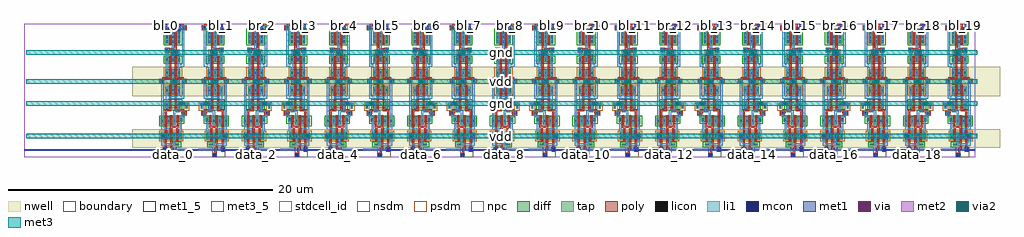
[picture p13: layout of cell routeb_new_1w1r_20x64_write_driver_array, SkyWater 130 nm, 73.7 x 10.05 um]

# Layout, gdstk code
from math import pi, radians
import gdstk
lib = gdstk.Library(unit=1e-6, precision=1e-09)
def R(c, l, rs):  # rectangles x0, y0, x1, y1
    for r in rs: c.add(gdstk.rectangle(r[:2], r[2:], *l))
def A(c, l, x, y, w, h, nx, ny, dx, dy):  # array of equal rectangles
    R(c, l, [(x+i*dx, y+j*dy, x+i*dx+w, y+j*dy+h) for i in range(nx) for j in range(ny)])
nwell = (64, 20)
diff = (65, 20)
tap = (65, 44)
poly = (66, 20)
licon = (66, 44)
li1 = (67, 20)
mcon = (67, 44)
met1_5 = (68, 5)
met1 = (68, 20)
via = (68, 44)
met2 = (69, 20)
via2 = (69, 44)
met3_5 = (70, 5)
met3 = (70, 20)
stdcell_id = (81, 4)
nsdm = (93, 44)
psdm = (94, 20)
npc = (95, 20)
boundary = (235, 4)

sky130_fd_bd_sram__openr = lib.new_cell('sky130_fd_bd_sram__openram_write_driver')
R(sky130_fd_bd_sram__openr, nwell, [(-1.88,0.69,4.4,2.12), (-1.88,4.6,4.4,6.83)])
R(sky130_fd_bd_sram__openr, diff, [(0.305,1.31,1.88,1.86), (0.305,2.46,1.435,2.65), (0.305,2.65,1.955,3.01), (0.645,3.68,1.795,4.23), (0.645,4.78,1.78,5.33), (0.645,6.095,1.775,6.645), (0.645,7.175,1.775,7.535), (0.645,8.565,1.775,9.565)])
R(sky130_fd_bd_sram__openr, tap, [(1.245,0.87,1.705,1.04), (2.155,3.64,2.325,4.1), (1.125,5.62,1.605,5.79), (1.145,7.805,1.605,7.975)])
R(sky130_fd_bd_sram__openr, poly, [(1.115,0.02,1.425,0.32), (1.115,0.32,1.275,0.5), (0.505,0.42,0.775,0.74), (1.015,0.5,1.275,0.65), (1.015,0.65,1.165,2.23), (0.505,0.74,0.725,0.75), (0.575,0.75,0.725,3.45), (1.455,1.18,1.605,2.23), (1.015,2.23,1.665,2.38), (1.015,2.38,1.165,3.14), (1.515,2.38,1.665,3.14), (1.875,3.18,2.245,3.3), (1.825,3.3,2.245,3.45), (0.575,3.45,1.065,3.6), (1.355,3.45,1.995,3.6), (0.915,3.6,1.065,5.46), (1.355,3.6,1.505,5.46), (0.205,5.6,0.54,5.87), (1.885,5.6,2.215,5.72), (1.88,5.72,2.215,5.87), (0.39,5.87,1.065,6.02), (1.355,5.87,2.03,6.02), (0.915,6.02,1.065,7.665), (1.355,6.02,1.505,7.665), (0.605,7.925,0.935,8.055), (0.605,8.055,1.505,8.205), (1.355,8.205,1.505,9.695), (0.915,8.435,1.065,9.905), (1.895,9.645,2.225,9.905), (0.915,9.905,2.225,9.915), (0.915,9.915,2.045,10.055)])
A(sky130_fd_bd_sram__openr, licon, 0.345, 1.5, 0.17, 0.17, 4, 1, 0.44, 0)
A(sky130_fd_bd_sram__openr, licon, 0.345, 2.65, 0.17, 0.17, 3, 1, 0.44, 0)
A(sky130_fd_bd_sram__openr, licon, 0.685, 4.97, 0.17, 0.17, 3, 2, 0.44, 1.315)
A(sky130_fd_bd_sram__openr, licon, 0.685, 7.275, 0.17, 0.17, 3, 2, 0.44, 1.365)
A(sky130_fd_bd_sram__openr, licon, 0.685, 8.98, 0.17, 0.17, 3, 2, 0.44, 0.34)
R(sky130_fd_bd_sram__openr, licon, [(1.175,0.1,1.345,0.27), (0.555,0.5,0.725,0.67), (1.395,0.87,1.565,1.04), (1.725,2.745,1.895,2.915), (1.995,3.23,2.165,3.4), (2.155,3.78,2.325,3.95), (0.685,3.87,0.855,4.04), (1.565,3.87,1.735,4.04), (1.295,5.62,1.465,5.79), (0.285,5.65,0.455,5.82), (1.965,5.65,2.135,5.82), (1.295,7.805,1.465,7.975), (0.685,7.985,0.855,8.155), (1.975,9.695,2.145,9.865)])
R(sky130_fd_bd_sram__openr, li1, [(1.095,0.1,1.425,0.27), (0.47,0.5,0.805,0.67), (1.225,0.84,1.395,0.87), (0.345,0.87,1.645,1.04), (0.345,1.04,0.515,1.88), (1.225,1.04,1.395,1.88), (0.785,1.29,0.955,2.05), (1.665,1.29,1.835,1.95), (1.665,1.95,1.895,2.12), (0.345,2.05,0.955,2.22), (1.725,2.12,1.895,2.89), (0.345,2.22,0.515,5.57), (0.785,2.44,0.955,3.03), (1.225,2.44,1.395,3.4), (1.725,2.89,1.955,2.99), (1.725,2.99,2.105,3.11), (1.725,3.11,2.165,3.16), (1.935,3.16,2.165,3.49), (1.225,3.375,1.735,3.545), (1.565,3.4,1.735,3.95), (0.685,3.65,0.855,4.42), (2.155,3.7,2.325,3.95), (1.565,3.95,2.355,4.12), (1.565,4.12,1.735,4.25), (0.685,4.42,2.075,4.59), (0.685,4.59,0.855,5.35), (1.565,4.59,1.735,5.35), (1.905,4.59,2.075,5.57), (1.125,4.76,1.295,5.62), (0.285,5.57,0.515,5.9), (1.905,5.57,2.135,5.9), (1.125,5.62,1.545,5.79), (1.125,5.79,1.295,6.665), (0.685,6.08,0.855,7.9), (1.565,6.08,1.735,6.825), (1.565,6.825,2.075,6.995), (1.565,6.995,1.735,7.565), (1.905,6.995,2.075,9.615), (1.125,7.165,1.295,7.805), (1.125,7.805,1.545,7.975), (0.585,7.9,0.855,8.235), (1.125,7.975,1.295,9.635), (0.685,8.545,0.855,9.735), (1.565,8.545,1.735,9.735), (1.905,9.615,2.145,9.945)])
R(sky130_fd_bd_sram__openr, mcon, [(1.175,0.1,1.345,0.27), (0.555,0.5,0.725,0.67), (0.345,1.5,0.515,1.67), (1.8,3.95,1.97,4.12), (1.125,5.62,1.295,5.79), (1.125,7.805,1.295,7.975), (0.685,9.565,0.855,9.735), (1.565,9.565,1.735,9.735)])
R(sky130_fd_bd_sram__openr, met1_5, [(1.115,0.02,1.415,0.3), (0.495,0.47,2.5,0.64), (0.285,1.47,0.715,1.7), (1.67,3.945,2.1,4.15), (1.065,5.59,1.495,5.82), (1.065,7.805,1.605,7.975), (0.63,9.795,0.78,10.055), (1.64,9.795,1.79,10.055)])
R(sky130_fd_bd_sram__openr, met1, [(1.115,0.02,1.415,0.3), (1.115,0.02,1.415,0.3), (0.495,0.47,2.5,0.64), (0.495,0.47,2.5,0.64), (0.495,0.64,0.785,0.78), (0.285,1.47,0.715,1.7), (0.285,1.47,0.715,1.7), (1.735,3.92,2.1,3.945), (1.67,3.945,2.1,4.15), (1.67,3.945,2.1,4.15), (1.065,5.59,1.495,5.82), (1.065,5.59,1.495,5.82), (1.065,7.775,1.495,7.805), (1.065,7.805,1.605,7.975), (1.065,7.805,1.605,7.975), (1.065,7.975,1.495,8.005), (0.625,9.505,0.91,9.795), (1.51,9.505,1.795,9.795), (0.63,9.795,0.78,10.055), (0.63,9.795,0.78,10.055), (1.64,9.795,1.79,10.055), (1.64,9.795,1.79,10.055)])
R(sky130_fd_bd_sram__openr, stdcell_id, [(0,0,2.5,10.055)])
R(sky130_fd_bd_sram__openr, nsdm, [(1.12,0.745,1.83,1.165), (0.18,2.335,1.56,2.525), (0.18,2.525,2.08,3.135), (0.52,3.555,1.92,4.355), (1,5.495,1.73,5.915), (0.52,7.05,1.9,7.66), (0.52,8.44,1.9,9.69)])
R(sky130_fd_bd_sram__openr, psdm, [(0.18,1.185,2.005,1.985), (2.03,3.515,2.45,4.225), (0.52,4.655,1.905,5.455), (0.52,5.97,1.9,6.77), (1.02,7.68,1.73,8.1)])
R(sky130_fd_bd_sram__openr, npc, [(0.455,0,1.445,0.77), (1.895,3.13,2.265,3.5), (0.185,5.55,0.555,5.92), (1.865,5.55,2.235,5.92), (0.585,7.885,0.955,8.255), (1.875,9.595,2.245,9.965)])
R(sky130_fd_bd_sram__openr, boundary, [(0,0,2.5,10.055)])
sky130_fd_bd_sram__openr.add(gdstk.Label('DIN', (1.265,0.06), layer=68, texttype=16))
sky130_fd_bd_sram__openr.add(gdstk.Label('VDD', (0.54,1.585), layer=68, texttype=16))
sky130_fd_bd_sram__openr.add(gdstk.Label('BL', (0.7,9.905), layer=68, texttype=16))
sky130_fd_bd_sram__openr.add(gdstk.Label('BR', (1.7,9.865), layer=68, texttype=16))
sky130_fd_bd_sram__openr.add(gdstk.Label('EN', (0.53,0.59), layer=68, texttype=16))
sky130_fd_bd_sram__openr.add(gdstk.Label('GND', (1.965,4.135), layer=68, texttype=16))
sky130_fd_bd_sram__openr.add(gdstk.Label('GND', (1.1,7.885), layer=68, texttype=16))
sky130_fd_bd_sram__openr.add(gdstk.Label('VDD', (1.1,5.7), layer=68, texttype=16))
sky130_fd_bd_sram__openr.add(gdstk.Label('din', (1.265,0.16), layer=68, texttype=5))
sky130_fd_bd_sram__openr.add(gdstk.Label('bl', (0.705,9.925), layer=68, texttype=5))
sky130_fd_bd_sram__openr.add(gdstk.Label('br', (1.715,9.925), layer=68, texttype=5))
sky130_fd_bd_sram__openr.add(gdstk.Label('en', (1.498,0.555), layer=68, texttype=5))
sky130_fd_bd_sram__openr.add(gdstk.Label('vdd', (0.5,1.585), layer=68, texttype=5))
sky130_fd_bd_sram__openr.add(gdstk.Label('vdd', (1.28,5.705), layer=68, texttype=5))
sky130_fd_bd_sram__openr.add(gdstk.Label('gnd', (1.885,4.048), layer=68, texttype=5))
sky130_fd_bd_sram__openr.add(gdstk.Label('gnd', (1.335,7.89), layer=68, texttype=5))

routeb_new_1w1r_20x64_co = lib.new_cell('routeb_new_1w1r_20x64_contact_18')
R(routeb_new_1w1r_20x64_co, met1, [(0,0.03,0.32,0.29)])
R(routeb_new_1w1r_20x64_co, via, [(0.085,0.085,0.235,0.235)])
R(routeb_new_1w1r_20x64_co, met2, [(0.03,0,0.29,0.32)])
R(routeb_new_1w1r_20x64_co, stdcell_id, [(0,0,0.32,0.32)])
R(routeb_new_1w1r_20x64_co, boundary, [(0,0,0.32,0.32)])

c_routeb_new_1w1r_20x64_co = lib.new_cell('routeb_new_1w1r_20x64_contact_21')
R(c_routeb_new_1w1r_20x64_co, met2, [(0.025,0,0.305,0.37)])
R(c_routeb_new_1w1r_20x64_co, via2, [(0.065,0.085,0.265,0.285)])
R(c_routeb_new_1w1r_20x64_co, met3, [(0,0.02,0.33,0.35)])
R(c_routeb_new_1w1r_20x64_co, stdcell_id, [(0,0,0.33,0.37)])
R(c_routeb_new_1w1r_20x64_co, boundary, [(0,0,0.33,0.37)])

routeb_new_1w1r_20x64_wr = lib.new_cell('routeb_new_1w1r_20x64_write_driver_array')
R(routeb_new_1w1r_20x64_wr, met1_5, [(11.15,0.02,11.45,0.3), (14.24,0.02,14.54,0.3), (17.39,0.02,17.69,0.3), (20.48,0.02,20.78,0.3), (23.63,0.02,23.93,0.3), (26.72,0.02,27.02,0.3), (29.87,0.02,30.17,0.3), (32.96,0.02,33.26,0.3), (36.11,0.02,36.41,0.3), (39.2,0.02,39.5,0.3), (42.35,0.02,42.65,0.3), (45.44,0.02,45.74,0.3), (48.59,0.02,48.89,0.3), (51.68,0.02,51.98,0.3), (54.83,0.02,55.13,0.3), (57.92,0.02,58.22,0.3), (61.07,0.02,61.37,0.3), (64.16,0.02,64.46,0.3), (67.31,0.02,67.61,0.3), (70.4,0.02,70.7,0.3), (0,0.47,71.815,0.61), (10.665,9.795,10.815,10.055), (11.675,9.795,11.825,10.055), (13.865,9.795,14.015,10.055), (14.875,9.795,15.025,10.055), (16.905,9.795,17.055,10.055), (17.915,9.795,18.065,10.055), (20.105,9.795,20.255,10.055), (21.115,9.795,21.265,10.055), (23.145,9.795,23.295,10.055), (24.155,9.795,24.305,10.055), (26.345,9.795,26.495,10.055), (27.355,9.795,27.505,10.055), (29.385,9.795,29.535,10.055), (30.395,9.795,30.545,10.055), (32.585,9.795,32.735,10.055), (33.595,9.795,33.745,10.055), (35.625,9.795,35.775,10.055), (36.635,9.795,36.785,10.055), (38.825,9.795,38.975,10.055), (39.835,9.795,39.985,10.055), (41.865,9.795,42.015,10.055), (42.875,9.795,43.025,10.055), (45.065,9.795,45.215,10.055), (46.075,9.795,46.225,10.055), (48.105,9.795,48.255,10.055), (49.115,9.795,49.265,10.055), (51.305,9.795,51.455,10.055), (52.315,9.795,52.465,10.055), (54.345,9.795,54.495,10.055), (55.355,9.795,55.505,10.055), (57.545,9.795,57.695,10.055), (58.555,9.795,58.705,10.055), (60.585,9.795,60.735,10.055), (61.595,9.795,61.745,10.055), (63.785,9.795,63.935,10.055), (64.795,9.795,64.945,10.055), (66.825,9.795,66.975,10.055), (67.835,9.795,67.985,10.055), (70.025,9.795,70.175,10.055), (71.035,9.795,71.185,10.055)])
R(routeb_new_1w1r_20x64_wr, met1, [(11.15,0.02,11.45,0.3), (14.24,0.02,14.54,0.3), (17.39,0.02,17.69,0.3), (20.48,0.02,20.78,0.3), (23.63,0.02,23.93,0.3), (26.72,0.02,27.02,0.3), (29.87,0.02,30.17,0.3), (32.96,0.02,33.26,0.3), (36.11,0.02,36.41,0.3), (39.2,0.02,39.5,0.3), (42.35,0.02,42.65,0.3), (45.44,0.02,45.74,0.3), (48.59,0.02,48.89,0.3), (51.68,0.02,51.98,0.3), (54.83,0.02,55.13,0.3), (57.92,0.02,58.22,0.3), (61.07,0.02,61.37,0.3), (64.16,0.02,64.46,0.3), (67.31,0.02,67.61,0.3), (70.4,0.02,70.7,0.3), (0,0.47,71.815,0.61), (10.375,1.455,10.695,1.715), (14.995,1.455,15.315,1.715), (16.615,1.455,16.935,1.715), (21.235,1.455,21.555,1.715), (22.855,1.455,23.175,1.715), (27.475,1.455,27.795,1.715), (29.095,1.455,29.415,1.715), (33.715,1.455,34.035,1.715), (35.335,1.455,35.655,1.715), (39.955,1.455,40.275,1.715), (41.575,1.455,41.895,1.715), (46.195,1.455,46.515,1.715), (47.815,1.455,48.135,1.715), (52.435,1.455,52.755,1.715), (54.055,1.455,54.375,1.715), (58.675,1.455,58.995,1.715), (60.295,1.455,60.615,1.715), (64.915,1.455,65.235,1.715), (66.535,1.455,66.855,1.715), (71.155,1.455,71.475,1.715), (11.76,3.92,12.08,4.18), (13.61,3.92,13.93,4.18), (18,3.92,18.32,4.18), (19.85,3.92,20.17,4.18), (24.24,3.92,24.56,4.18), (26.09,3.92,26.41,4.18), (30.48,3.92,30.8,4.18), (32.33,3.92,32.65,4.18), (36.72,3.92,37.04,4.18), (38.57,3.92,38.89,4.18), (42.96,3.92,43.28,4.18), (44.81,3.92,45.13,4.18), (49.2,3.92,49.52,4.18), (51.05,3.92,51.37,4.18), (55.44,3.92,55.76,4.18), (57.29,3.92,57.61,4.18), (61.68,3.92,62,4.18), (63.53,3.92,63.85,4.18), (67.92,3.92,68.24,4.18), (69.77,3.92,70.09,4.18), (11.155,5.575,11.475,5.835), (14.215,5.575,14.535,5.835), (17.395,5.575,17.715,5.835), (20.455,5.575,20.775,5.835), (23.635,5.575,23.955,5.835), (26.695,5.575,27.015,5.835), (29.875,5.575,30.195,5.835), (32.935,5.575,33.255,5.835), (36.115,5.575,36.435,5.835), (39.175,5.575,39.495,5.835), (42.355,5.575,42.675,5.835), (45.415,5.575,45.735,5.835), (48.595,5.575,48.915,5.835), (51.655,5.575,51.975,5.835), (54.835,5.575,55.155,5.835), (57.895,5.575,58.215,5.835), (61.075,5.575,61.395,5.835), (64.135,5.575,64.455,5.835), (67.315,5.575,67.635,5.835), (70.375,5.575,70.695,5.835), (11.21,7.76,11.53,8.02), (14.16,7.76,14.48,8.02), (17.45,7.76,17.77,8.02), (20.4,7.76,20.72,8.02), (23.69,7.76,24.01,8.02), (26.64,7.76,26.96,8.02), (29.93,7.76,30.25,8.02), (32.88,7.76,33.2,8.02), (36.17,7.76,36.49,8.02), (39.12,7.76,39.44,8.02), (42.41,7.76,42.73,8.02), (45.36,7.76,45.68,8.02), (48.65,7.76,48.97,8.02), (51.6,7.76,51.92,8.02), (54.89,7.76,55.21,8.02), (57.84,7.76,58.16,8.02), (61.13,7.76,61.45,8.02), (64.08,7.76,64.4,8.02), (67.37,7.76,67.69,8.02), (70.32,7.76,70.64,8.02), (10.665,9.795,10.815,10.055), (11.675,9.795,11.825,10.055), (13.865,9.795,14.015,10.055), (14.875,9.795,15.025,10.055), (16.905,9.795,17.055,10.055), (17.915,9.795,18.065,10.055), (20.105,9.795,20.255,10.055), (21.115,9.795,21.265,10.055), (23.145,9.795,23.295,10.055), (24.155,9.795,24.305,10.055), (26.345,9.795,26.495,10.055), (27.355,9.795,27.505,10.055), (29.385,9.795,29.535,10.055), (30.395,9.795,30.545,10.055), (32.585,9.795,32.735,10.055), (33.595,9.795,33.745,10.055), (35.625,9.795,35.775,10.055), (36.635,9.795,36.785,10.055), (38.825,9.795,38.975,10.055), (39.835,9.795,39.985,10.055), (41.865,9.795,42.015,10.055), (42.875,9.795,43.025,10.055), (45.065,9.795,45.215,10.055), (46.075,9.795,46.225,10.055), (48.105,9.795,48.255,10.055), (49.115,9.795,49.265,10.055), (51.305,9.795,51.455,10.055), (52.315,9.795,52.465,10.055), (54.345,9.795,54.495,10.055), (55.355,9.795,55.505,10.055), (57.545,9.795,57.695,10.055), (58.555,9.795,58.705,10.055), (60.585,9.795,60.735,10.055), (61.595,9.795,61.745,10.055), (63.785,9.795,63.935,10.055), (64.795,9.795,64.945,10.055), (66.825,9.795,66.975,10.055), (67.835,9.795,67.985,10.055), (70.025,9.795,70.175,10.055), (71.035,9.795,71.185,10.055)])
R(routeb_new_1w1r_20x64_wr, met2, [(10.395,1.46,10.675,1.705), (15.015,1.46,15.295,1.705), (16.635,1.46,16.915,1.705), (21.255,1.46,21.535,1.705), (22.875,1.46,23.155,1.705), (27.495,1.46,27.775,1.705), (29.115,1.46,29.395,1.705), (33.735,1.46,34.015,1.705), (35.355,1.46,35.635,1.705), (39.975,1.46,40.255,1.705), (41.595,1.46,41.875,1.705), (46.215,1.46,46.495,1.705), (47.835,1.46,48.115,1.705), (52.455,1.46,52.735,1.705), (54.075,1.46,54.355,1.705), (58.695,1.46,58.975,1.705), (60.315,1.46,60.595,1.705), (64.935,1.46,65.215,1.705), (66.555,1.46,66.835,1.705), (71.175,1.46,71.455,1.705), (11.78,3.925,12.06,4.17), (13.63,3.925,13.91,4.17), (18.02,3.925,18.3,4.17), (19.87,3.925,20.15,4.17), (24.26,3.925,24.54,4.17), (26.11,3.925,26.39,4.17), (30.5,3.925,30.78,4.17), (32.35,3.925,32.63,4.17), (36.74,3.925,37.02,4.17), (38.59,3.925,38.87,4.17), (42.98,3.925,43.26,4.17), (44.83,3.925,45.11,4.17), (49.22,3.925,49.5,4.17), (51.07,3.925,51.35,4.17), (55.46,3.925,55.74,4.17), (57.31,3.925,57.59,4.17), (61.7,3.925,61.98,4.17), (63.55,3.925,63.83,4.17), (67.94,3.925,68.22,4.17), (69.79,3.925,70.07,4.17), (11.175,5.58,11.455,5.825), (14.235,5.58,14.515,5.825), (17.415,5.58,17.695,5.825), (20.475,5.58,20.755,5.825), (23.655,5.58,23.935,5.825), (26.715,5.58,26.995,5.825), (29.895,5.58,30.175,5.825), (32.955,5.58,33.235,5.825), (36.135,5.58,36.415,5.825), (39.195,5.58,39.475,5.825), (42.375,5.58,42.655,5.825), (45.435,5.58,45.715,5.825), (48.615,5.58,48.895,5.825), (51.675,5.58,51.955,5.825), (54.855,5.58,55.135,5.825), (57.915,5.58,58.195,5.825), (61.095,5.58,61.375,5.825), (64.155,5.58,64.435,5.825), (67.335,5.58,67.615,5.825), (70.395,5.58,70.675,5.825), (11.23,7.77,11.51,8.015), (14.18,7.77,14.46,8.015), (17.47,7.77,17.75,8.015), (20.42,7.77,20.7,8.015), (23.71,7.77,23.99,8.015), (26.66,7.77,26.94,8.015), (29.95,7.77,30.23,8.015), (32.9,7.77,33.18,8.015), (36.19,7.77,36.47,8.015), (39.14,7.77,39.42,8.015), (42.43,7.77,42.71,8.015), (45.38,7.77,45.66,8.015), (48.67,7.77,48.95,8.015), (51.62,7.77,51.9,8.015), (54.91,7.77,55.19,8.015), (57.86,7.77,58.14,8.015), (61.15,7.77,61.43,8.015), (64.1,7.77,64.38,8.015), (67.39,7.77,67.67,8.015), (70.34,7.77,70.62,8.015)])
R(routeb_new_1w1r_20x64_wr, met3_5, [(0.165,1.42,71.98,1.75), (0.165,3.88,71.98,4.21), (0.165,5.54,71.98,5.87), (0.165,7.725,71.98,8.055)])
R(routeb_new_1w1r_20x64_wr, met3, [(0.165,1.42,71.98,1.75), (0.165,3.88,71.98,4.21), (0.165,5.54,71.98,5.87), (0.165,7.725,71.98,8.055)])
R(routeb_new_1w1r_20x64_wr, stdcell_id, [(0,0,71.815,10.055)])
R(routeb_new_1w1r_20x64_wr, boundary, [(0,0,71.815,10.055)])
routeb_new_1w1r_20x64_wr.add(gdstk.Reference(sky130_fd_bd_sram__openr, (10.035,0)))
routeb_new_1w1r_20x64_wr.add(gdstk.Reference(sky130_fd_bd_sram__openr, (15.655,0), rotation=pi, x_reflection=True))
routeb_new_1w1r_20x64_wr.add(gdstk.Reference(sky130_fd_bd_sram__openr, (16.275,0)))
routeb_new_1w1r_20x64_wr.add(gdstk.Reference(sky130_fd_bd_sram__openr, (21.895,0), rotation=pi, x_reflection=True))
routeb_new_1w1r_20x64_wr.add(gdstk.Reference(sky130_fd_bd_sram__openr, (22.515,0)))
routeb_new_1w1r_20x64_wr.add(gdstk.Reference(sky130_fd_bd_sram__openr, (28.135,0), rotation=pi, x_reflection=True))
routeb_new_1w1r_20x64_wr.add(gdstk.Reference(sky130_fd_bd_sram__openr, (28.755,0)))
routeb_new_1w1r_20x64_wr.add(gdstk.Reference(sky130_fd_bd_sram__openr, (34.375,0), rotation=pi, x_reflection=True))
routeb_new_1w1r_20x64_wr.add(gdstk.Reference(sky130_fd_bd_sram__openr, (34.995,0)))
routeb_new_1w1r_20x64_wr.add(gdstk.Reference(sky130_fd_bd_sram__openr, (40.615,0), rotation=pi, x_reflection=True))
routeb_new_1w1r_20x64_wr.add(gdstk.Reference(sky130_fd_bd_sram__openr, (41.235,0)))
routeb_new_1w1r_20x64_wr.add(gdstk.Reference(sky130_fd_bd_sram__openr, (46.855,0), rotation=pi, x_reflection=True))
routeb_new_1w1r_20x64_wr.add(gdstk.Reference(sky130_fd_bd_sram__openr, (47.475,0)))
routeb_new_1w1r_20x64_wr.add(gdstk.Reference(sky130_fd_bd_sram__openr, (53.095,0), rotation=pi, x_reflection=True))
routeb_new_1w1r_20x64_wr.add(gdstk.Reference(sky130_fd_bd_sram__openr, (53.715,0)))
routeb_new_1w1r_20x64_wr.add(gdstk.Reference(sky130_fd_bd_sram__openr, (59.335,0), rotation=pi, x_reflection=True))
routeb_new_1w1r_20x64_wr.add(gdstk.Reference(sky130_fd_bd_sram__openr, (59.955,0)))
routeb_new_1w1r_20x64_wr.add(gdstk.Reference(sky130_fd_bd_sram__openr, (65.575,0), rotation=pi, x_reflection=True))
routeb_new_1w1r_20x64_wr.add(gdstk.Reference(sky130_fd_bd_sram__openr, (66.195,0)))
routeb_new_1w1r_20x64_wr.add(gdstk.Reference(sky130_fd_bd_sram__openr, (71.815,0), rotation=pi, x_reflection=True))
routeb_new_1w1r_20x64_wr.add(gdstk.Reference(routeb_new_1w1r_20x64_co, (10.375,1.425)))
routeb_new_1w1r_20x64_wr.add(gdstk.Reference(c_routeb_new_1w1r_20x64_co, (10.37,1.4)))
routeb_new_1w1r_20x64_wr.add(gdstk.Reference(routeb_new_1w1r_20x64_co, (14.995,1.425)))
routeb_new_1w1r_20x64_wr.add(gdstk.Reference(c_routeb_new_1w1r_20x64_co, (14.99,1.4)))
routeb_new_1w1r_20x64_wr.add(gdstk.Reference(routeb_new_1w1r_20x64_co, (16.615,1.425)))
routeb_new_1w1r_20x64_wr.add(gdstk.Reference(c_routeb_new_1w1r_20x64_co, (16.61,1.4)))
routeb_new_1w1r_20x64_wr.add(gdstk.Reference(routeb_new_1w1r_20x64_co, (21.235,1.425)))
routeb_new_1w1r_20x64_wr.add(gdstk.Reference(c_routeb_new_1w1r_20x64_co, (21.23,1.4)))
routeb_new_1w1r_20x64_wr.add(gdstk.Reference(routeb_new_1w1r_20x64_co, (22.855,1.425)))
routeb_new_1w1r_20x64_wr.add(gdstk.Reference(c_routeb_new_1w1r_20x64_co, (22.85,1.4)))
routeb_new_1w1r_20x64_wr.add(gdstk.Reference(routeb_new_1w1r_20x64_co, (27.475,1.425)))
routeb_new_1w1r_20x64_wr.add(gdstk.Reference(c_routeb_new_1w1r_20x64_co, (27.47,1.4)))
routeb_new_1w1r_20x64_wr.add(gdstk.Reference(routeb_new_1w1r_20x64_co, (29.095,1.425)))
routeb_new_1w1r_20x64_wr.add(gdstk.Reference(c_routeb_new_1w1r_20x64_co, (29.09,1.4)))
routeb_new_1w1r_20x64_wr.add(gdstk.Reference(routeb_new_1w1r_20x64_co, (33.715,1.425)))
routeb_new_1w1r_20x64_wr.add(gdstk.Reference(c_routeb_new_1w1r_20x64_co, (33.71,1.4)))
routeb_new_1w1r_20x64_wr.add(gdstk.Reference(routeb_new_1w1r_20x64_co, (35.335,1.425)))
routeb_new_1w1r_20x64_wr.add(gdstk.Reference(c_routeb_new_1w1r_20x64_co, (35.33,1.4)))
routeb_new_1w1r_20x64_wr.add(gdstk.Reference(routeb_new_1w1r_20x64_co, (39.955,1.425)))
routeb_new_1w1r_20x64_wr.add(gdstk.Reference(c_routeb_new_1w1r_20x64_co, (39.95,1.4)))
routeb_new_1w1r_20x64_wr.add(gdstk.Reference(routeb_new_1w1r_20x64_co, (41.575,1.425)))
routeb_new_1w1r_20x64_wr.add(gdstk.Reference(c_routeb_new_1w1r_20x64_co, (41.57,1.4)))
routeb_new_1w1r_20x64_wr.add(gdstk.Reference(routeb_new_1w1r_20x64_co, (46.195,1.425)))
routeb_new_1w1r_20x64_wr.add(gdstk.Reference(c_routeb_new_1w1r_20x64_co, (46.19,1.4)))
routeb_new_1w1r_20x64_wr.add(gdstk.Reference(routeb_new_1w1r_20x64_co, (47.815,1.425)))
routeb_new_1w1r_20x64_wr.add(gdstk.Reference(c_routeb_new_1w1r_20x64_co, (47.81,1.4)))
routeb_new_1w1r_20x64_wr.add(gdstk.Reference(routeb_new_1w1r_20x64_co, (52.435,1.425)))
routeb_new_1w1r_20x64_wr.add(gdstk.Reference(c_routeb_new_1w1r_20x64_co, (52.43,1.4)))
routeb_new_1w1r_20x64_wr.add(gdstk.Reference(routeb_new_1w1r_20x64_co, (54.055,1.425)))
routeb_new_1w1r_20x64_wr.add(gdstk.Reference(c_routeb_new_1w1r_20x64_co, (54.05,1.4)))
routeb_new_1w1r_20x64_wr.add(gdstk.Reference(routeb_new_1w1r_20x64_co, (58.675,1.425)))
routeb_new_1w1r_20x64_wr.add(gdstk.Reference(c_routeb_new_1w1r_20x64_co, (58.67,1.4)))
routeb_new_1w1r_20x64_wr.add(gdstk.Reference(routeb_new_1w1r_20x64_co, (60.295,1.425)))
routeb_new_1w1r_20x64_wr.add(gdstk.Reference(c_routeb_new_1w1r_20x64_co, (60.29,1.4)))
routeb_new_1w1r_20x64_wr.add(gdstk.Reference(routeb_new_1w1r_20x64_co, (64.915,1.425)))
routeb_new_1w1r_20x64_wr.add(gdstk.Reference(c_routeb_new_1w1r_20x64_co, (64.91,1.4)))
routeb_new_1w1r_20x64_wr.add(gdstk.Reference(routeb_new_1w1r_20x64_co, (66.535,1.425)))
routeb_new_1w1r_20x64_wr.add(gdstk.Reference(c_routeb_new_1w1r_20x64_co, (66.53,1.4)))
routeb_new_1w1r_20x64_wr.add(gdstk.Reference(routeb_new_1w1r_20x64_co, (71.155,1.425)))
routeb_new_1w1r_20x64_wr.add(gdstk.Reference(c_routeb_new_1w1r_20x64_co, (71.15,1.4)))
routeb_new_1w1r_20x64_wr.add(gdstk.Reference(routeb_new_1w1r_20x64_co, (11.155,5.545)))
routeb_new_1w1r_20x64_wr.add(gdstk.Reference(c_routeb_new_1w1r_20x64_co, (11.15,5.52)))
routeb_new_1w1r_20x64_wr.add(gdstk.Reference(routeb_new_1w1r_20x64_co, (14.215,5.545)))
routeb_new_1w1r_20x64_wr.add(gdstk.Reference(c_routeb_new_1w1r_20x64_co, (14.21,5.52)))
routeb_new_1w1r_20x64_wr.add(gdstk.Reference(routeb_new_1w1r_20x64_co, (17.395,5.545)))
routeb_new_1w1r_20x64_wr.add(gdstk.Reference(c_routeb_new_1w1r_20x64_co, (17.39,5.52)))
routeb_new_1w1r_20x64_wr.add(gdstk.Reference(routeb_new_1w1r_20x64_co, (20.455,5.545)))
routeb_new_1w1r_20x64_wr.add(gdstk.Reference(c_routeb_new_1w1r_20x64_co, (20.45,5.52)))
routeb_new_1w1r_20x64_wr.add(gdstk.Reference(routeb_new_1w1r_20x64_co, (23.635,5.545)))
routeb_new_1w1r_20x64_wr.add(gdstk.Reference(c_routeb_new_1w1r_20x64_co, (23.63,5.52)))
routeb_new_1w1r_20x64_wr.add(gdstk.Reference(routeb_new_1w1r_20x64_co, (26.695,5.545)))
routeb_new_1w1r_20x64_wr.add(gdstk.Reference(c_routeb_new_1w1r_20x64_co, (26.69,5.52)))
routeb_new_1w1r_20x64_wr.add(gdstk.Reference(routeb_new_1w1r_20x64_co, (29.875,5.545)))
routeb_new_1w1r_20x64_wr.add(gdstk.Reference(c_routeb_new_1w1r_20x64_co, (29.87,5.52)))
routeb_new_1w1r_20x64_wr.add(gdstk.Reference(routeb_new_1w1r_20x64_co, (32.935,5.545)))
routeb_new_1w1r_20x64_wr.add(gdstk.Reference(c_routeb_new_1w1r_20x64_co, (32.93,5.52)))
routeb_new_1w1r_20x64_wr.add(gdstk.Reference(routeb_new_1w1r_20x64_co, (36.115,5.545)))
routeb_new_1w1r_20x64_wr.add(gdstk.Reference(c_routeb_new_1w1r_20x64_co, (36.11,5.52)))
routeb_new_1w1r_20x64_wr.add(gdstk.Reference(routeb_new_1w1r_20x64_co, (39.175,5.545)))
routeb_new_1w1r_20x64_wr.add(gdstk.Reference(c_routeb_new_1w1r_20x64_co, (39.17,5.52)))
routeb_new_1w1r_20x64_wr.add(gdstk.Reference(routeb_new_1w1r_20x64_co, (42.355,5.545)))
routeb_new_1w1r_20x64_wr.add(gdstk.Reference(c_routeb_new_1w1r_20x64_co, (42.35,5.52)))
routeb_new_1w1r_20x64_wr.add(gdstk.Reference(routeb_new_1w1r_20x64_co, (45.415,5.545)))
routeb_new_1w1r_20x64_wr.add(gdstk.Reference(c_routeb_new_1w1r_20x64_co, (45.41,5.52)))
routeb_new_1w1r_20x64_wr.add(gdstk.Reference(routeb_new_1w1r_20x64_co, (48.595,5.545)))
routeb_new_1w1r_20x64_wr.add(gdstk.Reference(c_routeb_new_1w1r_20x64_co, (48.59,5.52)))
routeb_new_1w1r_20x64_wr.add(gdstk.Reference(routeb_new_1w1r_20x64_co, (51.655,5.545)))
routeb_new_1w1r_20x64_wr.add(gdstk.Reference(c_routeb_new_1w1r_20x64_co, (51.65,5.52)))
routeb_new_1w1r_20x64_wr.add(gdstk.Reference(routeb_new_1w1r_20x64_co, (54.835,5.545)))
routeb_new_1w1r_20x64_wr.add(gdstk.Reference(c_routeb_new_1w1r_20x64_co, (54.83,5.52)))
routeb_new_1w1r_20x64_wr.add(gdstk.Reference(routeb_new_1w1r_20x64_co, (57.895,5.545)))
routeb_new_1w1r_20x64_wr.add(gdstk.Reference(c_routeb_new_1w1r_20x64_co, (57.89,5.52)))
routeb_new_1w1r_20x64_wr.add(gdstk.Reference(routeb_new_1w1r_20x64_co, (61.075,5.545)))
routeb_new_1w1r_20x64_wr.add(gdstk.Reference(c_routeb_new_1w1r_20x64_co, (61.07,5.52)))
routeb_new_1w1r_20x64_wr.add(gdstk.Reference(routeb_new_1w1r_20x64_co, (64.135,5.545)))
routeb_new_1w1r_20x64_wr.add(gdstk.Reference(c_routeb_new_1w1r_20x64_co, (64.13,5.52)))
routeb_new_1w1r_20x64_wr.add(gdstk.Reference(routeb_new_1w1r_20x64_co, (67.315,5.545)))
routeb_new_1w1r_20x64_wr.add(gdstk.Reference(c_routeb_new_1w1r_20x64_co, (67.31,5.52)))
routeb_new_1w1r_20x64_wr.add(gdstk.Reference(routeb_new_1w1r_20x64_co, (70.375,5.545)))
routeb_new_1w1r_20x64_wr.add(gdstk.Reference(c_routeb_new_1w1r_20x64_co, (70.37,5.52)))
routeb_new_1w1r_20x64_wr.add(gdstk.Reference(routeb_new_1w1r_20x64_co, (11.76,3.89)))
routeb_new_1w1r_20x64_wr.add(gdstk.Reference(c_routeb_new_1w1r_20x64_co, (11.755,3.86)))
routeb_new_1w1r_20x64_wr.add(gdstk.Reference(routeb_new_1w1r_20x64_co, (13.61,3.89)))
routeb_new_1w1r_20x64_wr.add(gdstk.Reference(c_routeb_new_1w1r_20x64_co, (13.605,3.86)))
routeb_new_1w1r_20x64_wr.add(gdstk.Reference(routeb_new_1w1r_20x64_co, (18,3.89)))
routeb_new_1w1r_20x64_wr.add(gdstk.Reference(c_routeb_new_1w1r_20x64_co, (17.995,3.86)))
routeb_new_1w1r_20x64_wr.add(gdstk.Reference(routeb_new_1w1r_20x64_co, (19.85,3.89)))
routeb_new_1w1r_20x64_wr.add(gdstk.Reference(c_routeb_new_1w1r_20x64_co, (19.845,3.86)))
routeb_new_1w1r_20x64_wr.add(gdstk.Reference(routeb_new_1w1r_20x64_co, (24.24,3.89)))
routeb_new_1w1r_20x64_wr.add(gdstk.Reference(c_routeb_new_1w1r_20x64_co, (24.235,3.86)))
routeb_new_1w1r_20x64_wr.add(gdstk.Reference(routeb_new_1w1r_20x64_co, (26.09,3.89)))
routeb_new_1w1r_20x64_wr.add(gdstk.Reference(c_routeb_new_1w1r_20x64_co, (26.085,3.86)))
routeb_new_1w1r_20x64_wr.add(gdstk.Reference(routeb_new_1w1r_20x64_co, (30.48,3.89)))
routeb_new_1w1r_20x64_wr.add(gdstk.Reference(c_routeb_new_1w1r_20x64_co, (30.475,3.86)))
routeb_new_1w1r_20x64_wr.add(gdstk.Reference(routeb_new_1w1r_20x64_co, (32.33,3.89)))
routeb_new_1w1r_20x64_wr.add(gdstk.Reference(c_routeb_new_1w1r_20x64_co, (32.325,3.86)))
routeb_new_1w1r_20x64_wr.add(gdstk.Reference(routeb_new_1w1r_20x64_co, (36.72,3.89)))
routeb_new_1w1r_20x64_wr.add(gdstk.Reference(c_routeb_new_1w1r_20x64_co, (36.715,3.86)))
routeb_new_1w1r_20x64_wr.add(gdstk.Reference(routeb_new_1w1r_20x64_co, (38.57,3.89)))
routeb_new_1w1r_20x64_wr.add(gdstk.Reference(c_routeb_new_1w1r_20x64_co, (38.565,3.86)))
routeb_new_1w1r_20x64_wr.add(gdstk.Reference(routeb_new_1w1r_20x64_co, (42.96,3.89)))
routeb_new_1w1r_20x64_wr.add(gdstk.Reference(c_routeb_new_1w1r_20x64_co, (42.955,3.86)))
routeb_new_1w1r_20x64_wr.add(gdstk.Reference(routeb_new_1w1r_20x64_co, (44.81,3.89)))
routeb_new_1w1r_20x64_wr.add(gdstk.Reference(c_routeb_new_1w1r_20x64_co, (44.805,3.86)))
routeb_new_1w1r_20x64_wr.add(gdstk.Reference(routeb_new_1w1r_20x64_co, (49.2,3.89)))
routeb_new_1w1r_20x64_wr.add(gdstk.Reference(c_routeb_new_1w1r_20x64_co, (49.195,3.86)))
routeb_new_1w1r_20x64_wr.add(gdstk.Reference(routeb_new_1w1r_20x64_co, (51.05,3.89)))
routeb_new_1w1r_20x64_wr.add(gdstk.Reference(c_routeb_new_1w1r_20x64_co, (51.045,3.86)))
routeb_new_1w1r_20x64_wr.add(gdstk.Reference(routeb_new_1w1r_20x64_co, (55.44,3.89)))
routeb_new_1w1r_20x64_wr.add(gdstk.Reference(c_routeb_new_1w1r_20x64_co, (55.435,3.86)))
routeb_new_1w1r_20x64_wr.add(gdstk.Reference(routeb_new_1w1r_20x64_co, (57.29,3.89)))
routeb_new_1w1r_20x64_wr.add(gdstk.Reference(c_routeb_new_1w1r_20x64_co, (57.285,3.86)))
routeb_new_1w1r_20x64_wr.add(gdstk.Reference(routeb_new_1w1r_20x64_co, (61.68,3.89)))
routeb_new_1w1r_20x64_wr.add(gdstk.Reference(c_routeb_new_1w1r_20x64_co, (61.675,3.86)))
routeb_new_1w1r_20x64_wr.add(gdstk.Reference(routeb_new_1w1r_20x64_co, (63.53,3.89)))
routeb_new_1w1r_20x64_wr.add(gdstk.Reference(c_routeb_new_1w1r_20x64_co, (63.525,3.86)))
routeb_new_1w1r_20x64_wr.add(gdstk.Reference(routeb_new_1w1r_20x64_co, (67.92,3.89)))
routeb_new_1w1r_20x64_wr.add(gdstk.Reference(c_routeb_new_1w1r_20x64_co, (67.915,3.86)))
routeb_new_1w1r_20x64_wr.add(gdstk.Reference(routeb_new_1w1r_20x64_co, (69.77,3.89)))
routeb_new_1w1r_20x64_wr.add(gdstk.Reference(c_routeb_new_1w1r_20x64_co, (69.765,3.86)))
routeb_new_1w1r_20x64_wr.add(gdstk.Reference(routeb_new_1w1r_20x64_co, (11.21,7.73)))
routeb_new_1w1r_20x64_wr.add(gdstk.Reference(c_routeb_new_1w1r_20x64_co, (11.205,7.705)))
routeb_new_1w1r_20x64_wr.add(gdstk.Reference(routeb_new_1w1r_20x64_co, (14.16,7.73)))
routeb_new_1w1r_20x64_wr.add(gdstk.Reference(c_routeb_new_1w1r_20x64_co, (14.155,7.705)))
routeb_new_1w1r_20x64_wr.add(gdstk.Reference(routeb_new_1w1r_20x64_co, (17.45,7.73)))
routeb_new_1w1r_20x64_wr.add(gdstk.Reference(c_routeb_new_1w1r_20x64_co, (17.445,7.705)))
routeb_new_1w1r_20x64_wr.add(gdstk.Reference(routeb_new_1w1r_20x64_co, (20.4,7.73)))
routeb_new_1w1r_20x64_wr.add(gdstk.Reference(c_routeb_new_1w1r_20x64_co, (20.395,7.705)))
routeb_new_1w1r_20x64_wr.add(gdstk.Reference(routeb_new_1w1r_20x64_co, (23.69,7.73)))
routeb_new_1w1r_20x64_wr.add(gdstk.Reference(c_routeb_new_1w1r_20x64_co, (23.685,7.705)))
routeb_new_1w1r_20x64_wr.add(gdstk.Reference(routeb_new_1w1r_20x64_co, (26.64,7.73)))
routeb_new_1w1r_20x64_wr.add(gdstk.Reference(c_routeb_new_1w1r_20x64_co, (26.635,7.705)))
routeb_new_1w1r_20x64_wr.add(gdstk.Reference(routeb_new_1w1r_20x64_co, (29.93,7.73)))
routeb_new_1w1r_20x64_wr.add(gdstk.Reference(c_routeb_new_1w1r_20x64_co, (29.925,7.705)))
routeb_new_1w1r_20x64_wr.add(gdstk.Reference(routeb_new_1w1r_20x64_co, (32.88,7.73)))
routeb_new_1w1r_20x64_wr.add(gdstk.Reference(c_routeb_new_1w1r_20x64_co, (32.875,7.705)))
routeb_new_1w1r_20x64_wr.add(gdstk.Reference(routeb_new_1w1r_20x64_co, (36.17,7.73)))
routeb_new_1w1r_20x64_wr.add(gdstk.Reference(c_routeb_new_1w1r_20x64_co, (36.165,7.705)))
routeb_new_1w1r_20x64_wr.add(gdstk.Reference(routeb_new_1w1r_20x64_co, (39.12,7.73)))
routeb_new_1w1r_20x64_wr.add(gdstk.Reference(c_routeb_new_1w1r_20x64_co, (39.115,7.705)))
routeb_new_1w1r_20x64_wr.add(gdstk.Reference(routeb_new_1w1r_20x64_co, (42.41,7.73)))
routeb_new_1w1r_20x64_wr.add(gdstk.Reference(c_routeb_new_1w1r_20x64_co, (42.405,7.705)))
routeb_new_1w1r_20x64_wr.add(gdstk.Reference(routeb_new_1w1r_20x64_co, (45.36,7.73)))
routeb_new_1w1r_20x64_wr.add(gdstk.Reference(c_routeb_new_1w1r_20x64_co, (45.355,7.705)))
routeb_new_1w1r_20x64_wr.add(gdstk.Reference(routeb_new_1w1r_20x64_co, (48.65,7.73)))
routeb_new_1w1r_20x64_wr.add(gdstk.Reference(c_routeb_new_1w1r_20x64_co, (48.645,7.705)))
routeb_new_1w1r_20x64_wr.add(gdstk.Reference(routeb_new_1w1r_20x64_co, (51.6,7.73)))
routeb_new_1w1r_20x64_wr.add(gdstk.Reference(c_routeb_new_1w1r_20x64_co, (51.595,7.705)))
routeb_new_1w1r_20x64_wr.add(gdstk.Reference(routeb_new_1w1r_20x64_co, (54.89,7.73)))
routeb_new_1w1r_20x64_wr.add(gdstk.Reference(c_routeb_new_1w1r_20x64_co, (54.885,7.705)))
routeb_new_1w1r_20x64_wr.add(gdstk.Reference(routeb_new_1w1r_20x64_co, (57.84,7.73)))
routeb_new_1w1r_20x64_wr.add(gdstk.Reference(c_routeb_new_1w1r_20x64_co, (57.835,7.705)))
routeb_new_1w1r_20x64_wr.add(gdstk.Reference(routeb_new_1w1r_20x64_co, (61.13,7.73)))
routeb_new_1w1r_20x64_wr.add(gdstk.Reference(c_routeb_new_1w1r_20x64_co, (61.125,7.705)))
routeb_new_1w1r_20x64_wr.add(gdstk.Reference(routeb_new_1w1r_20x64_co, (64.08,7.73)))
routeb_new_1w1r_20x64_wr.add(gdstk.Reference(c_routeb_new_1w1r_20x64_co, (64.075,7.705)))
routeb_new_1w1r_20x64_wr.add(gdstk.Reference(routeb_new_1w1r_20x64_co, (67.37,7.73)))
routeb_new_1w1r_20x64_wr.add(gdstk.Reference(c_routeb_new_1w1r_20x64_co, (67.365,7.705)))
routeb_new_1w1r_20x64_wr.add(gdstk.Reference(routeb_new_1w1r_20x64_co, (70.32,7.73)))
routeb_new_1w1r_20x64_wr.add(gdstk.Reference(c_routeb_new_1w1r_20x64_co, (70.315,7.705)))
routeb_new_1w1r_20x64_wr.add(gdstk.Label('data_0', (11.3,0.16), layer=68, texttype=5))
routeb_new_1w1r_20x64_wr.add(gdstk.Label('bl_0', (10.74,9.925), layer=68, texttype=5))
routeb_new_1w1r_20x64_wr.add(gdstk.Label('br_0', (11.75,9.925), layer=68, texttype=5))
routeb_new_1w1r_20x64_wr.add(gdstk.Label('data_1', (14.39,0.16), layer=68, texttype=5))
routeb_new_1w1r_20x64_wr.add(gdstk.Label('bl_1', (14.95,9.925), layer=68, texttype=5))
routeb_new_1w1r_20x64_wr.add(gdstk.Label('br_1', (13.94,9.925), layer=68, texttype=5))
routeb_new_1w1r_20x64_wr.add(gdstk.Label('data_2', (17.54,0.16), layer=68, texttype=5))
routeb_new_1w1r_20x64_wr.add(gdstk.Label('bl_2', (16.98,9.925), layer=68, texttype=5))
routeb_new_1w1r_20x64_wr.add(gdstk.Label('br_2', (17.99,9.925), layer=68, texttype=5))
routeb_new_1w1r_20x64_wr.add(gdstk.Label('data_3', (20.63,0.16), layer=68, texttype=5))
routeb_new_1w1r_20x64_wr.add(gdstk.Label('bl_3', (21.19,9.925), layer=68, texttype=5))
routeb_new_1w1r_20x64_wr.add(gdstk.Label('br_3', (20.18,9.925), layer=68, texttype=5))
routeb_new_1w1r_20x64_wr.add(gdstk.Label('data_4', (23.78,0.16), layer=68, texttype=5))
routeb_new_1w1r_20x64_wr.add(gdstk.Label('bl_4', (23.22,9.925), layer=68, texttype=5))
routeb_new_1w1r_20x64_wr.add(gdstk.Label('br_4', (24.23,9.925), layer=68, texttype=5))
routeb_new_1w1r_20x64_wr.add(gdstk.Label('data_5', (26.87,0.16), layer=68, texttype=5))
routeb_new_1w1r_20x64_wr.add(gdstk.Label('bl_5', (27.43,9.925), layer=68, texttype=5))
routeb_new_1w1r_20x64_wr.add(gdstk.Label('br_5', (26.42,9.925), layer=68, texttype=5))
routeb_new_1w1r_20x64_wr.add(gdstk.Label('data_6', (30.02,0.16), layer=68, texttype=5))
routeb_new_1w1r_20x64_wr.add(gdstk.Label('bl_6', (29.46,9.925), layer=68, texttype=5))
routeb_new_1w1r_20x64_wr.add(gdstk.Label('br_6', (30.47,9.925), layer=68, texttype=5))
routeb_new_1w1r_20x64_wr.add(gdstk.Label('data_7', (33.11,0.16), layer=68, texttype=5))
routeb_new_1w1r_20x64_wr.add(gdstk.Label('bl_7', (33.67,9.925), layer=68, texttype=5))
routeb_new_1w1r_20x64_wr.add(gdstk.Label('br_7', (32.66,9.925), layer=68, texttype=5))
routeb_new_1w1r_20x64_wr.add(gdstk.Label('data_8', (36.26,0.16), layer=68, texttype=5))
routeb_new_1w1r_20x64_wr.add(gdstk.Label('bl_8', (35.7,9.925), layer=68, texttype=5))
routeb_new_1w1r_20x64_wr.add(gdstk.Label('br_8', (36.71,9.925), layer=68, texttype=5))
routeb_new_1w1r_20x64_wr.add(gdstk.Label('data_9', (39.35,0.16), layer=68, texttype=5))
routeb_new_1w1r_20x64_wr.add(gdstk.Label('bl_9', (39.91,9.925), layer=68, texttype=5))
routeb_new_1w1r_20x64_wr.add(gdstk.Label('br_9', (38.9,9.925), layer=68, texttype=5))
routeb_new_1w1r_20x64_wr.add(gdstk.Label('data_10', (42.5,0.16), layer=68, texttype=5))
routeb_new_1w1r_20x64_wr.add(gdstk.Label('bl_10', (41.94,9.925), layer=68, texttype=5))
routeb_new_1w1r_20x64_wr.add(gdstk.Label('br_10', (42.95,9.925), layer=68, texttype=5))
routeb_new_1w1r_20x64_wr.add(gdstk.Label('data_11', (45.59,0.16), layer=68, texttype=5))
routeb_new_1w1r_20x64_wr.add(gdstk.Label('bl_11', (46.15,9.925), layer=68, texttype=5))
routeb_new_1w1r_20x64_wr.add(gdstk.Label('br_11', (45.14,9.925), layer=68, texttype=5))
routeb_new_1w1r_20x64_wr.add(gdstk.Label('data_12', (48.74,0.16), layer=68, texttype=5))
routeb_new_1w1r_20x64_wr.add(gdstk.Label('bl_12', (48.18,9.925), layer=68, texttype=5))
routeb_new_1w1r_20x64_wr.add(gdstk.Label('br_12', (49.19,9.925), layer=68, texttype=5))
routeb_new_1w1r_20x64_wr.add(gdstk.Label('data_13', (51.83,0.16), layer=68, texttype=5))
routeb_new_1w1r_20x64_wr.add(gdstk.Label('bl_13', (52.39,9.925), layer=68, texttype=5))
routeb_new_1w1r_20x64_wr.add(gdstk.Label('br_13', (51.38,9.925), layer=68, texttype=5))
routeb_new_1w1r_20x64_wr.add(gdstk.Label('data_14', (54.98,0.16), layer=68, texttype=5))
routeb_new_1w1r_20x64_wr.add(gdstk.Label('bl_14', (54.42,9.925), layer=68, texttype=5))
routeb_new_1w1r_20x64_wr.add(gdstk.Label('br_14', (55.43,9.925), layer=68, texttype=5))
routeb_new_1w1r_20x64_wr.add(gdstk.Label('data_15', (58.07,0.16), layer=68, texttype=5))
routeb_new_1w1r_20x64_wr.add(gdstk.Label('bl_15', (58.63,9.925), layer=68, texttype=5))
routeb_new_1w1r_20x64_wr.add(gdstk.Label('br_15', (57.62,9.925), layer=68, texttype=5))
routeb_new_1w1r_20x64_wr.add(gdstk.Label('data_16', (61.22,0.16), layer=68, texttype=5))
routeb_new_1w1r_20x64_wr.add(gdstk.Label('bl_16', (60.66,9.925), layer=68, texttype=5))
routeb_new_1w1r_20x64_wr.add(gdstk.Label('br_16', (61.67,9.925), layer=68, texttype=5))
routeb_new_1w1r_20x64_wr.add(gdstk.Label('data_17', (64.31,0.16), layer=68, texttype=5))
routeb_new_1w1r_20x64_wr.add(gdstk.Label('bl_17', (64.87,9.925), layer=68, texttype=5))
routeb_new_1w1r_20x64_wr.add(gdstk.Label('br_17', (63.86,9.925), layer=68, texttype=5))
routeb_new_1w1r_20x64_wr.add(gdstk.Label('data_18', (67.46,0.16), layer=68, texttype=5))
routeb_new_1w1r_20x64_wr.add(gdstk.Label('bl_18', (66.9,9.925), layer=68, texttype=5))
routeb_new_1w1r_20x64_wr.add(gdstk.Label('br_18', (67.91,9.925), layer=68, texttype=5))
routeb_new_1w1r_20x64_wr.add(gdstk.Label('data_19', (70.55,0.16), layer=68, texttype=5))
routeb_new_1w1r_20x64_wr.add(gdstk.Label('bl_19', (71.11,9.925), layer=68, texttype=5))
routeb_new_1w1r_20x64_wr.add(gdstk.Label('br_19', (70.1,9.925), layer=68, texttype=5))
routeb_new_1w1r_20x64_wr.add(gdstk.Label('en', (35.908,0.54), layer=68, texttype=5))
routeb_new_1w1r_20x64_wr.add(gdstk.Label('vdd', (36.073,1.585), layer=70, texttype=5))
routeb_new_1w1r_20x64_wr.add(gdstk.Label('vdd', (36.073,5.705), layer=70, texttype=5))
routeb_new_1w1r_20x64_wr.add(gdstk.Label('gnd', (36.073,4.045), layer=70, texttype=5))
routeb_new_1w1r_20x64_wr.add(gdstk.Label('gnd', (36.073,7.89), layer=70, texttype=5))

lib.write_gds('routeb_new_1w1r_20x64_write_driver_array.gds')
